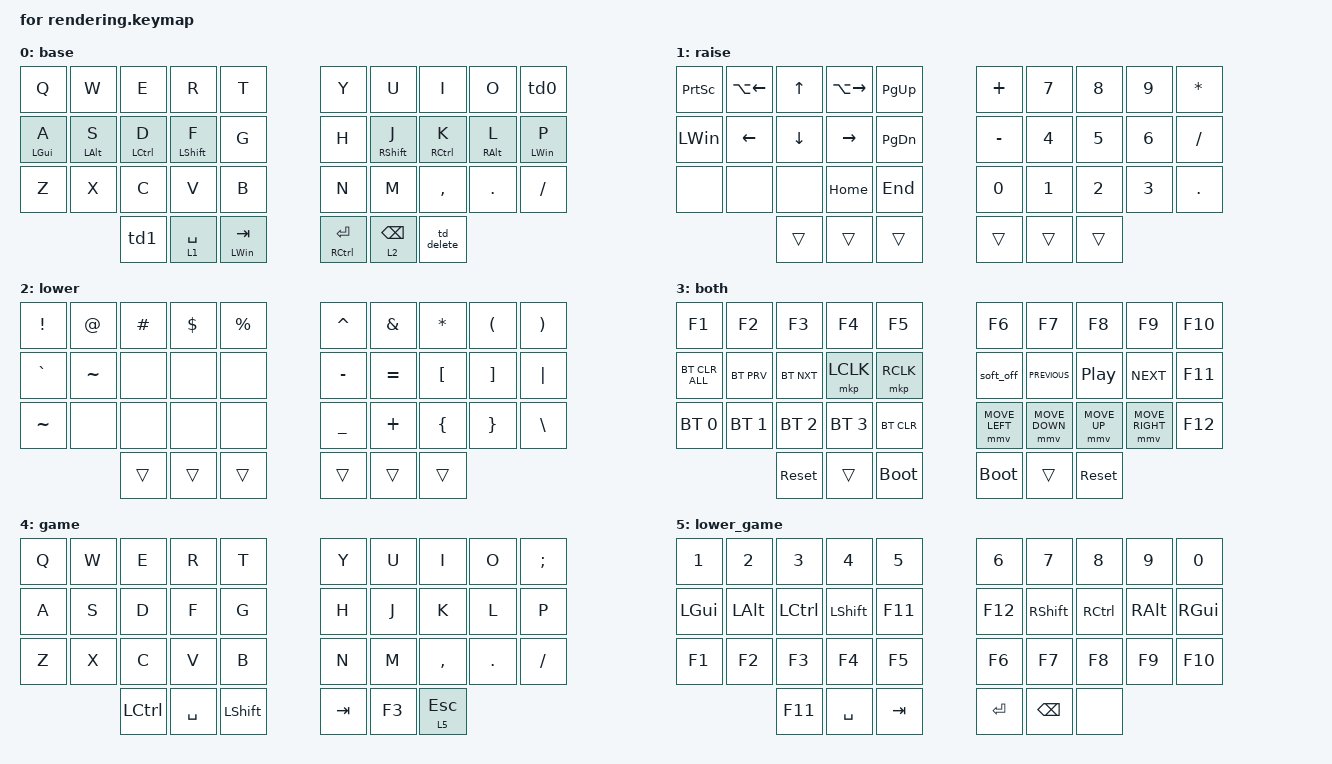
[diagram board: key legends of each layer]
/*
 * Copyright (c) 2020 The ZMK Contributors
 *
 * SPDX-License-Identifier: MIT
 */

#include <behaviors.dtsi>
#include <dt-bindings/zmk/bt.h>
#include <dt-bindings/zmk/keys.h>
#include <dt-bindings/zmk/pointing.h>

// LAYERS

#define DEFAULT 0
#define NUM     1
#define SYM     2
#define FUNC    3

// MACROS

#define SUPER LC(LSHIFT)
#define SUPER2 LA(LC(LSHIFT))

&mt {
    tapping-term-ms = <200>;
    flavor = "tap-preferred";
};

/ {
    behaviors {
        hm: homerow_mods {
            compatible = "zmk,behavior-hold-tap";
            label = "HOMEROW_MODS";
            #binding-cells = <2>;
            tapping-term-ms = <175>;
            quick-tap-ms = <0>;
            flavor = "tap-preferred";
            bindings = <&kp>, <&kp>;
        };

        td0: tap_dance_0 {
            compatible = "zmk,behavior-tap-dance";
            label = "TAP_DANCE_0";
            #binding-cells = <0>;
            tapping-term-ms = <180>;
            bindings = <&kp SEMICOLON>, <&kp SQT>;
        };

        td1: tap_dance_1 {
            compatible = "zmk,behavior-tap-dance";
            label = "TAP_DANCE_1";
            #binding-cells = <0>;
            tapping-term-ms = <180>;
            bindings = <&mt LEFT_ALT DELETE>, <&helixregistry>;
        };

        td_delete: td_delete {
            compatible = "zmk,behavior-tap-dance";
            label = "TD_DELETE";
            #binding-cells = <0>;
            tapping-term-ms = <180>;
            bindings = <&kp ESCAPE>, <&kp CAPSLOCK>;
        };
    };

    combos {
        compatible = "zmk,combos";

        combo_cword {
            timeout-ms = <50>;
            key-positions = <13 16>;
            bindings = <&caps_word>;
        };

        delword {
            bindings = <&kp LC(BACKSPACE)>;
            key-positions = <11 12 13>;
        };

        entercombo {
            bindings = <&kp ENTER>;
            key-positions = <16 17 18>;
        };

        newline {
            bindings = <&kp LS(ENTER)>;
            key-positions = <19 18 17 16>;
        };

        deleteall {
            bindings = <&delall>;
            key-positions = <10 11 12 13>;
        };

        toggame {
            bindings = <&tog 4>;
            key-positions = <9 0 1 8>;
        };
    };

    macros {
        vim_quit: vim_quit {
            label = "ZM_vim_quit";
            compatible = "zmk,behavior-macro";
            #binding-cells = <0>;
            bindings = <&macro_tap>, <&kp ESC &kp COLON &kp W &kp Q>;
        };

        helixregistry: helixregistry {
            compatible = "zmk,behavior-macro";
            #binding-cells = <0>;
            bindings = <&kp DOUBLE_QUOTES &kp PLUS>;
            label = "HELIXREGISTRY";
        };

        delall: delall {
            compatible = "zmk,behavior-macro";
            #binding-cells = <0>;
            bindings = <&kp LC(A) &kp BACKSPACE>;
            label = "DELALL";
        };
    };

    keymap {
        compatible = "zmk,keymap";

        base {
            bindings = <
	  &kp Q       &kp W       &kp E        &kp R         &kp T               &kp Y            &kp U            &kp I        &kp O       &td0            	
	  &hm LGUI A  &hm LALT S  &hm LCTRL D  &hm LSHIFT F  &kp G               &kp H            &hm RSHIFT J     &hm RCTRL K  &hm RALT L  &hm LEFT_WIN P  	
	  &kp Z       &kp X       &kp C        &kp V         &kp B               &kp N            &kp M            &kp COMMA    &kp DOT     &kp FSLH        	
                               &td1         &lt 1 SPACE   &mt LEFT_WIN TAB    &mt RCTRL ENTER  &lt 2 BACKSPACE  &td_delete
            >;
        };

        raise {
            bindings = <
	  &kp PRINTSCREEN  &kp LA(LEFT)  &kp UP    &kp LA(RIGHT)  &kp PG_UP    &kp PLUS   &kp N7  &kp N8  &kp N9  &kp ASTERISK  	
	  &kp LEFT_WIN     &kp LEFT      &kp DOWN  &kp RIGHT      &kp PG_DN    &kp MINUS  &kp N4  &kp N5  &kp N6  &kp SLASH     	
	  &none &none &none &kp HOME       &kp END      &kp N0     &kp N1  &kp N2  &kp N3  &kp DOT       	
                                      &trans    &trans         &trans       &trans     &trans  &trans
            >;
        };

        lower {
            bindings = <
	  &kp EXCL   &kp AT     &kp HASH  &kp DLLR  &kp PRCNT    &kp CARET  &kp AMPS   &kp ASTERISK  &kp LPAR  &kp RIGHT_PARENTHESIS  	
	  &kp GRAVE  &kp TILDE &none &none &none &kp MINUS  &kp EQUAL  &kp LBKT      &kp RBKT  &kp PIPE               	
	  &kp TILDE  &none &none &none &none  &kp UNDER  &kp PLUS   &kp LBRC      &kp RBRC  &kp BACKSLASH          	
                             &trans    &trans    &trans       &trans     &trans     &trans
            >;
        };

        both {
            bindings = <
	  &kp F1          &kp F2        &kp F3        &kp F4        &kp F5         &kp F6          &kp F7          &kp F8            &kp F9           &kp F10  	
	  &bt BT_CLR_ALL  &bt BT_PRV    &bt BT_NXT    &mkp LCLK     &mkp RCLK      &soft_off       &kp C_PREVIOUS  &kp C_PLAY_PAUSE  &kp C_NEXT       &kp F11  	
	  &bt BT_SEL 0    &bt BT_SEL 1  &bt BT_SEL 2  &bt BT_SEL 3  &bt BT_CLR     &mmv MOVE_LEFT  &mmv MOVE_DOWN  &mmv MOVE_UP      &mmv MOVE_RIGHT  &kp F12  	
                                     &sys_reset    &trans        &bootloader    &bootloader     &trans          &sys_reset
            >;
        };

        game {
            bindings = <
	  &kp Q  &kp W  &kp E      &kp R      &kp T        &kp Y    &kp U   &kp I         &kp O    &kp SEMI  	
	  &kp A  &kp S  &kp D      &kp F      &kp G        &kp H    &kp J   &kp K         &kp L    &kp P     	
	  &kp Z  &kp X  &kp C      &kp V      &kp B        &kp N    &kp M   &kp COMMA     &kp DOT  &kp FSLH  	
                     &kp LCTRL  &kp SPACE  &kp LSHFT    &kp TAB  &kp F3  &lt 5 ESCAPE
            >;
        };

        lower_game {
            bindings = <
	  &kp N1    &kp N2    &kp N3     &kp N4     &kp N5     &kp N6     &kp N7     &kp N8     &kp N9    &kp N0    	
	  &kp LGUI  &kp LALT  &kp LCTRL  &kp LSHFT  &kp F11    &kp F12    &kp RSHFT  &kp RCTRL  &kp RALT  &kp RGUI  	
	  &kp F1    &kp F2    &kp F3     &kp F4     &kp F5     &kp F6     &kp F7     &kp F8     &kp F9    &kp F10   	
                           &kp F11    &kp SPACE  &kp TAB    &kp ENTER  &kp BSPC  &none 	
            >;
        };
    };

    conditional_layers {
        compatible = "zmk,conditional-layers";

        funcwhenboth {
            if-layers = <1 2>;
            then-layer = <3>;
        };
    };
};
